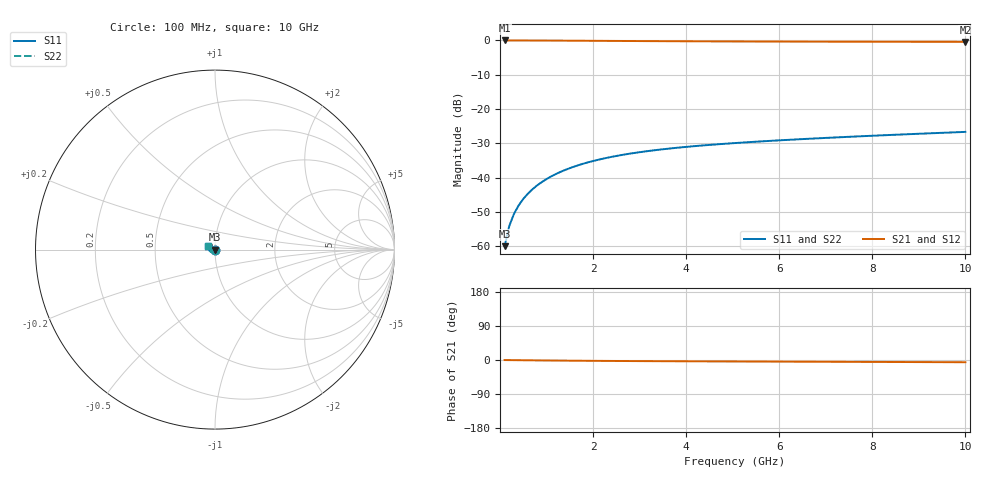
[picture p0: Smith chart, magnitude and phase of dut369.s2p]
! Touchstone file exported from HFSS 2024.1.0
!  File:  C:/UserFiles/LocalFiles/RDL_TSV_Batchsim/temp_TSV1_369_1779621762.aedt
!  Generated:  07:27:47 PM May 24, 2026
!  Design:  TSV1
!  Project:  temp_TSV1_369_1779621762
!  Setup:  Setup1
!  Solution:  Sweep
! Variables:
!  dtsv = 8.11um
!  hbump = 3um
!  htsv = 88.83um
!  lrdl = 252.1521522um
!  p = 40
!  p1 = 57.87um
!  t = 500um
!  trdl = 3um
!  wrdl = 24.89489489um
# GHz S MA R 50.000000
! Terminal data exported
! Port[1] = TSV22_T1
! Port[2] = TSV22_T2
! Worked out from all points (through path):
!   100 points, 100 MHz to 10 GHz, reference 50 ohm
!   highest |S21| = 0.00 dB at 100 MHz (marker M1); lowest = -0.4 dB at 10 GHz (marker M2)
!   lowest |S11| = -60.0 dB at 100 MHz (marker M3), VSWR 1.00, Z = 50 - j0.0986 ohm
!   |S11| at or under -10 dB: start of sweep to end of sweep
!   |S22| runs from -60.0 to -26.7 dB; largest |S21 - S12| = 5.5e-15
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0.1  0.001005 -78.8  0.9997 -0.1  0.9997 -0.1  0.001005 -78.8
! Gamma 0 0 0 0
! Port Impedance 50 0 50 0
0.2  0.001978 -87.5  0.9996 -0.3  0.9996 -0.3  0.001978 -87.5
0.3  0.002956 -91.9  0.9994 -0.4  0.9994 -0.4  0.002956 -91.9
0.4  0.00393 -95.3  0.9991 -0.5  0.9991 -0.5  0.00393 -95.3
0.5  0.004896 -98.2  0.9988 -0.6  0.9988 -0.6  0.004896 -98.2
0.6  0.005852 -100.8  0.9984 -0.8  0.9984 -0.8  0.005852 -100.8
0.7  0.006797 -103.3  0.9979 -0.9  0.9979 -0.9  0.006797 -103.3
0.8  0.007728 -105.7  0.9974 -1.0  0.9974 -1.0  0.007728 -105.7
0.9  0.008644 -108.0  0.9968 -1.1  0.9968 -1.1  0.008644 -108.0
1.1  0.01043 -112.4  0.9955 -1.3  0.9955 -1.3  0.01043 -112.4
1.4  0.01296 -118.7  0.9932 -1.7  0.9932 -1.7  0.01296 -118.7
1.6  0.01456 -122.8  0.9915 -1.9  0.9915 -1.9  0.01456 -122.8
1.8  0.01607 -126.6  0.9898 -2.0  0.9898 -2.0  0.01607 -126.6
2.1  0.01818 -132.1  0.9872 -2.3  0.9872 -2.3  0.01818 -132.1
2.5  0.02073 -139.0  0.9837 -2.6  0.9837 -2.6  0.02073 -139.0
2.9  0.02299 -145.4  0.9803 -2.8  0.9803 -2.8  0.02299 -145.4
3.4  0.02549 -152.6  0.9765 -3.1  0.9765 -3.1  0.02549 -152.6
4.2  0.02889 -162.8  0.9713 -3.5  0.9713 -3.5  0.02889 -162.8
5.1  0.03213 -172.7  0.9667 -3.9  0.9667 -3.9  0.03213 -172.7
6.7  0.03711 173.0  0.9609 -4.6  0.9609 -4.6  0.03711 173.0
8.4  0.04198 161.1  0.9569 -5.2  0.9569 -5.2  0.04197 161.1
10  0.04649 152.0  0.9542 -5.9  0.9542 -5.9  0.04648 152.0
